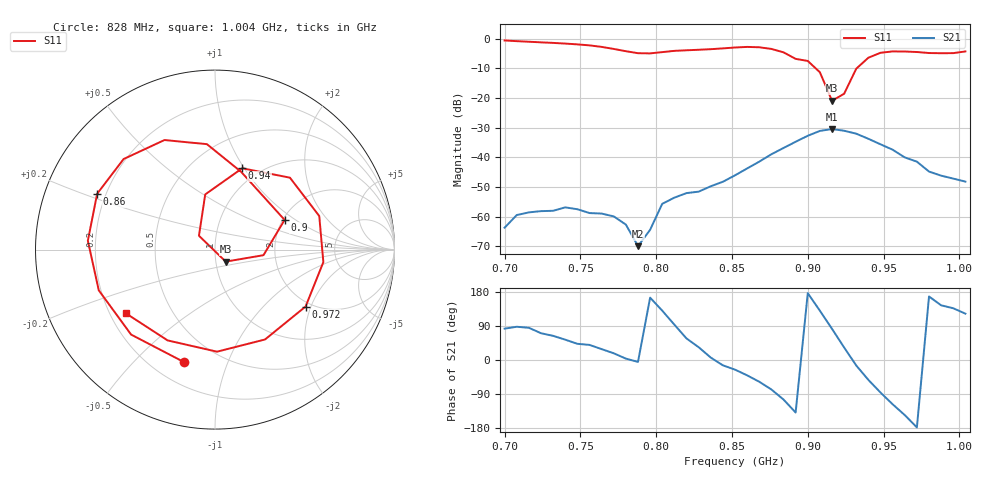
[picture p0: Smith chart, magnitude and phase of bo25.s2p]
# Hz S RI R 50
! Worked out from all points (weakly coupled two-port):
!   39 points, 700 MHz to 1.004 GHz, reference 50 ohm
!   highest |S21| = -30.46 dB at 916 MHz (marker M1); lowest = -69.9 dB at 788 MHz (marker M2)
!   lowest |S11| = -20.9 dB at 916 MHz (marker M3), VSWR 1.20, Z = 55.8 - j7.54 ohm
!   |S11| at or under -10 dB: 905.3 MHz to 932.2 MHz (26.98 MHz wide, 2.94 % of centre)
!   S12 and S22 are empty: the file has one direction only
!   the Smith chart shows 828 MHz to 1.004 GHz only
!   S11 on the Smith chart (normalised r, x): 828 MHz: 0.33, -0.71; 860 MHz: 0.17, +0.22; 900 MHz: 2.04, +0.82; 940 MHz: 0.83, +0.98; 972 MHz: 1.86, -1.83; 1.004 GHz: 0.27, -0.30
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7e8  0.7671 0.5318  8.23e-05 0.000649  0 0  0 0
7.24e8  0.8272 -0.2612  0.000412 0.00117  0 0  0 0
7.4e8  0.4406 -0.7001  0.000853 0.00116  0 0  0 0
7.56e8  -0.2059 -0.7435  0.000886 0.00074  0 0  0 0
7.72e8  -0.6512 -0.1645  0.000965 0.000309  0 0  0 0
7.88e8  -0.1799 0.54  0.000318 -2.83e-05  0 0  0 0
7.96e8  0.3076 0.4742  -0.000581 0.000161  0 0  0 0
8.04e8  0.5874 0.0879  -0.00106 0.00126  0 0  0 0
8.2e8  0.1992 -0.6055  0.00137 0.0021  0 0  0 0
8.28e8  -0.1705 -0.6279  0.0022 0.00147  0 0  0 0
8.52e8  -0.7084 0.0495  0.0045 -0.00214  0 0  0 0
8.6e8  -0.6565 0.3113  0.00495 -0.00423  0 0  0 0
8.84e8  -0.045 0.5875  -0.00356 -0.014  0 0  0 0
9e8  0.3878 0.1655  -0.0231 0.00147  0 0  0 0
9.08e8  0.2702 -0.031  -0.018 0.0214  0 0  0 0
9.16e8  0.0599 -0.067  0.00404 0.0297  0 0  0 0
9.24e8  -0.0894 0.0771  0.0236 0.0153  0 0  0 0
9.4e8  0.1518 0.4532  0.0125 -0.0163  0 0  0 0
9.56e8  0.5808 0.1871  -0.00608 -0.012  0 0  0 0
9.72e8  0.5049 -0.3171  -0.00847 -0.000305  0 0  0 0
9.88e8  0.0113 -0.5688  -0.004 0.00287  0 0  0 0
1.004e9  -0.495 -0.356  -0.00209 0.0033  0 0  0 0
